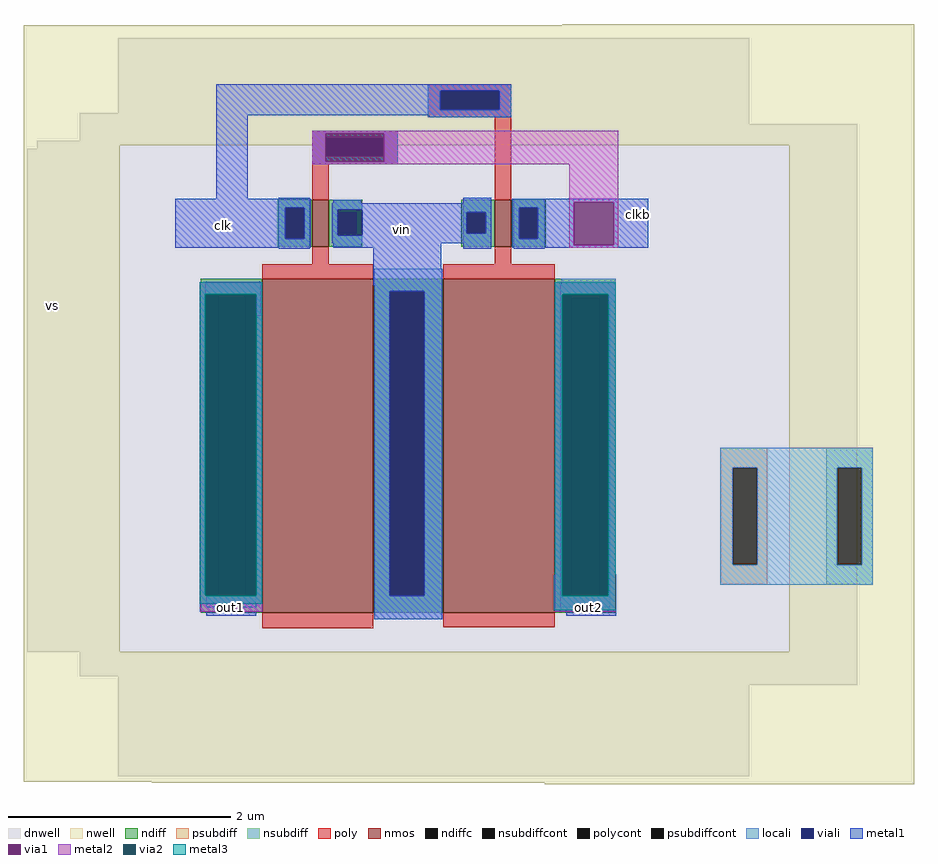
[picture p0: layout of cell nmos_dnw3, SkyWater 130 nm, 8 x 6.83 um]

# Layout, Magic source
magic
tech sky130A
magscale 1 2
<< dnwell >>
rect -254 2098 880 2232
rect -324 2078 880 2098
rect -324 2048 1074 2078
rect -400 2034 1074 2048
rect -418 1130 1074 2034
rect -324 1086 1074 1130
rect -254 1070 1074 1086
rect -254 906 880 1070
<< nwell >>
rect 544 2256 1176 2258
rect -424 2040 1176 2256
rect -424 1130 -252 2040
rect 952 1130 1176 2040
rect -424 896 1176 1130
rect -194 894 1176 896
rect 512 892 1176 894
<< nmos >>
rect 94 1858 124 1942
rect 422 1858 452 1942
rect 4 1200 204 1800
rect 330 1200 530 1800
<< ndiff >>
rect 32 1928 94 1942
rect 32 1872 46 1928
rect 80 1872 94 1928
rect 32 1858 94 1872
rect 124 1920 184 1942
rect 124 1882 140 1920
rect 174 1882 184 1920
rect 124 1858 184 1882
rect 362 1920 422 1942
rect 362 1882 372 1920
rect 406 1882 422 1920
rect 362 1858 422 1882
rect 452 1928 514 1942
rect 452 1872 466 1928
rect 500 1872 514 1928
rect 452 1858 514 1872
rect -106 1770 4 1800
rect -106 1230 -76 1770
rect -26 1230 4 1770
rect -106 1200 4 1230
rect 204 1778 330 1800
rect 204 1230 234 1778
rect 296 1230 330 1778
rect 204 1200 330 1230
rect 530 1770 640 1800
rect 530 1230 560 1770
rect 610 1230 640 1770
rect 530 1200 640 1230
<< ndiffc >>
rect 46 1872 80 1928
rect 140 1882 174 1920
rect 372 1882 406 1920
rect 466 1872 500 1928
rect -76 1230 -26 1770
rect 234 1230 296 1778
rect 560 1230 610 1770
<< psubdiff >>
rect 828 1460 912 1496
rect 828 1286 850 1460
rect 894 1286 912 1460
rect 828 1250 912 1286
<< nsubdiff >>
rect 1018 1460 1102 1496
rect 1018 1286 1038 1460
rect 1082 1286 1102 1460
rect 1018 1250 1102 1286
<< psubdiffcont >>
rect 850 1286 894 1460
<< nsubdiffcont >>
rect 1038 1286 1082 1460
<< poly >>
rect 302 2138 452 2150
rect 302 2104 324 2138
rect 430 2104 452 2138
rect 302 2090 452 2104
rect 94 2054 248 2066
rect 94 2020 118 2054
rect 224 2020 248 2054
rect 94 2006 248 2020
rect 94 1942 124 2006
rect 422 1942 452 2090
rect 94 1826 124 1858
rect 422 1826 452 1858
rect 4 1800 204 1826
rect 330 1800 530 1826
rect 4 1172 204 1200
rect 330 1174 530 1200
<< polycont >>
rect 324 2104 430 2138
rect 118 2020 224 2054
<< locali >>
rect 302 2138 452 2150
rect 302 2104 324 2138
rect 430 2104 452 2138
rect 302 2090 452 2104
rect 94 2054 248 2066
rect 94 2020 118 2054
rect 224 2020 248 2054
rect 94 2006 248 2020
rect 34 1928 90 1944
rect 132 1936 182 1942
rect 34 1872 46 1928
rect 80 1872 90 1928
rect 34 1854 90 1872
rect 130 1924 184 1936
rect 130 1878 140 1924
rect 130 1864 184 1878
rect 366 1920 416 1946
rect 366 1882 372 1920
rect 406 1882 416 1920
rect 132 1856 182 1864
rect 366 1854 416 1882
rect 456 1928 512 1944
rect 456 1872 466 1928
rect 500 1872 512 1928
rect 456 1854 512 1872
rect -98 1770 2 1796
rect -98 1734 -76 1770
rect -26 1768 2 1770
rect -96 1230 -76 1734
rect -24 1734 2 1768
rect 206 1778 328 1818
rect 542 1790 640 1800
rect -24 1234 -6 1734
rect -26 1230 -6 1234
rect -96 1210 -6 1230
rect 206 1230 234 1778
rect 296 1230 328 1778
rect 206 1188 328 1230
rect 540 1770 640 1790
rect 540 1230 560 1770
rect 610 1766 640 1770
rect 612 1758 640 1766
rect 612 1234 630 1758
rect 828 1460 1102 1496
rect 828 1286 850 1460
rect 894 1286 1038 1460
rect 1082 1286 1102 1460
rect 828 1250 1102 1286
rect 610 1230 630 1234
rect 540 1210 630 1230
<< viali >>
rect 324 2104 430 2138
rect 118 2020 224 2054
rect 46 1872 80 1928
rect 140 1920 184 1924
rect 140 1882 174 1920
rect 174 1882 184 1920
rect 140 1878 184 1882
rect 372 1882 406 1920
rect 466 1872 500 1928
rect -76 1234 -26 1768
rect -26 1234 -24 1768
rect 234 1230 296 1778
rect 560 1234 610 1766
rect 610 1234 612 1766
<< metal1 >>
rect -78 2138 452 2150
rect -78 2104 324 2138
rect 430 2104 452 2138
rect -78 2094 452 2104
rect -78 1944 -22 2094
rect 304 2090 452 2094
rect 94 2062 248 2066
rect 94 2010 118 2062
rect 224 2010 248 2062
rect 94 2006 248 2010
rect 34 1944 90 1946
rect -152 1928 92 1944
rect 132 1936 182 1942
rect 366 1936 416 1946
rect -152 1872 46 1928
rect 80 1872 92 1928
rect -152 1856 92 1872
rect 130 1924 416 1936
rect 130 1878 140 1924
rect 184 1920 416 1924
rect 184 1882 372 1920
rect 406 1882 416 1920
rect 184 1878 416 1882
rect 130 1864 416 1878
rect 132 1856 326 1864
rect 34 1854 90 1856
rect 204 1818 326 1856
rect 366 1854 416 1864
rect 454 1938 698 1944
rect 454 1928 564 1938
rect 454 1872 466 1928
rect 500 1872 564 1928
rect 454 1860 564 1872
rect 636 1860 698 1938
rect 454 1856 698 1860
rect 456 1854 512 1856
rect -108 1772 4 1794
rect 204 1788 328 1818
rect -108 1230 -98 1772
rect -6 1230 4 1772
rect -108 1202 4 1230
rect 206 1778 328 1788
rect 206 1230 234 1778
rect 296 1230 328 1778
rect -96 1194 -6 1202
rect 206 1188 328 1230
rect 530 1772 640 1794
rect 530 1230 544 1772
rect 626 1269 640 1772
rect 626 1230 641 1269
rect 530 1202 641 1230
rect 551 1194 641 1202
<< via1 >>
rect 118 2054 224 2062
rect 118 2020 224 2054
rect 118 2010 224 2020
rect 564 1860 636 1938
rect -98 1768 -6 1772
rect -98 1234 -76 1768
rect -76 1234 -24 1768
rect -24 1234 -6 1768
rect -98 1230 -6 1234
rect 544 1766 626 1772
rect 544 1234 560 1766
rect 560 1234 612 1766
rect 612 1234 626 1766
rect 544 1230 626 1234
<< metal2 >>
rect 94 2062 644 2066
rect 94 2010 118 2062
rect 224 2010 644 2062
rect 94 2006 644 2010
rect 556 1938 644 2006
rect 556 1860 564 1938
rect 636 1860 644 1938
rect 556 1856 644 1860
rect -108 1772 4 1794
rect -108 1230 -98 1772
rect -6 1230 4 1772
rect -108 1202 4 1230
rect 530 1772 640 1794
rect 530 1230 544 1772
rect 626 1230 640 1772
rect 530 1202 640 1230
<< via2 >>
rect -98 1230 -6 1772
rect 544 1230 626 1772
<< metal3 >>
rect -108 1772 4 1794
rect -108 1230 -98 1772
rect -6 1230 4 1772
rect 530 1772 640 1794
rect 530 1268 544 1772
rect -108 1216 4 1230
rect 528 1230 544 1268
rect 626 1230 640 1772
rect 528 1204 640 1230
<< labels >>
rlabel metal1 254 1888 254 1888 1 vin
port 1 n
rlabel metal2 -52 1210 -52 1210 1 out1
port 2 n
rlabel metal3 590 1210 590 1210 1 out2
port 3 n
rlabel metal1 -66 1896 -66 1896 1 clk
port 4 n
rlabel metal1 680 1916 680 1916 1 clkb
port 5 n
rlabel nwell -372 1752 -372 1752 1 vs
port 6 n
<< end >>
